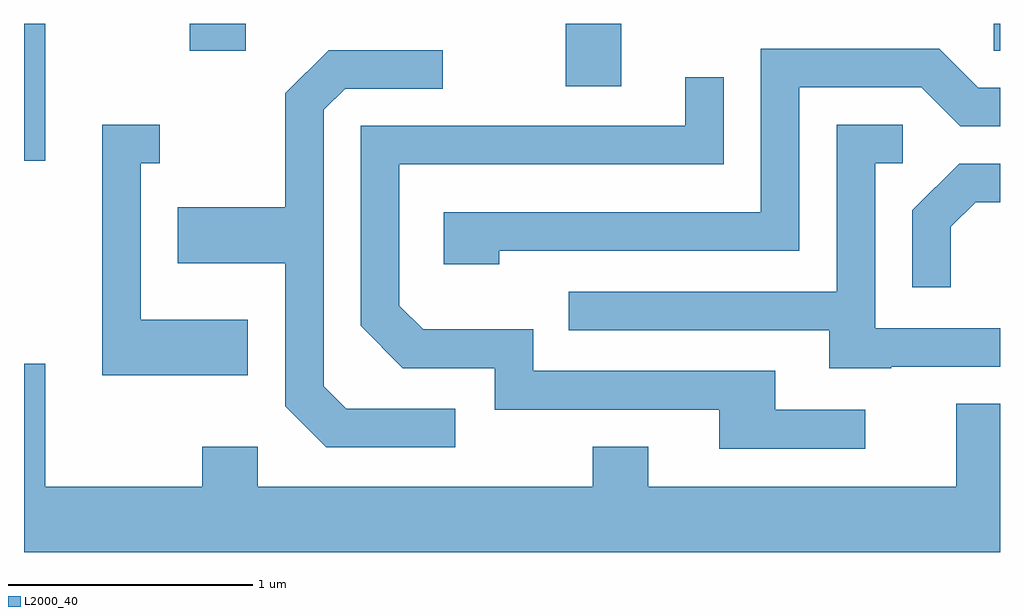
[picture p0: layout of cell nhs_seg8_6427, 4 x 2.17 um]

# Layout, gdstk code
import gdstk
lib = gdstk.Library(unit=1e-6, precision=1e-09)
def R(c, l, rs):  # rectangles x0, y0, x1, y1
    for r in rs: c.add(gdstk.rectangle(r[:2], r[2:], *l))
def P(c, l, *ps):  # polygons
    for p in ps: c.add(gdstk.Polygon(p, *l))
L2000_40 = (2000, 40)

nhs_seg8_6427 = lib.new_cell('nhs_seg8_6427')
R(nhs_seg8_6427, L2000_40, [(377.611,1855.781,377.699,1856.342), (379.831,1856.086,380.059,1856.342), (378.291,1856.231,378.519,1856.342), (381.586,1856.231,381.611,1856.342)])
P(nhs_seg8_6427, L2000_40, [(379.559,1855.411),(380.789,1855.411),(380.789,1856.081),(381.289,1856.081),(381.449,1855.921),(381.611,1855.921),(381.611,1856.079),(381.522,1856.079),(381.362,1856.239),(380.631,1856.239),(380.631,1855.569),(379.331,1855.569),(379.331,1855.356),(379.559,1855.356)],
  [(379.378,1854.764),(378.932,1854.764),(378.839,1854.857),(378.839,1855.989),(378.927,1856.076),(379.328,1856.076),(379.328,1856.234),(378.859,1856.234),(378.681,1856.057),(378.681,1855.589),(378.241,1855.589),(378.241,1855.361),(378.681,1855.361),(378.681,1854.774),(378.849,1854.606),(379.378,1854.606)],
  [(381.058,1854.759),(380.689,1854.759),(380.689,1854.919),(379.699,1854.919),(379.699,1855.089),(379.247,1855.089),(379.149,1855.187),(379.149,1855.766),(380.479,1855.766),(380.479,1856.123),(380.321,1856.123),(380.321,1855.924),(378.991,1855.924),(378.991,1855.104),(379.164,1854.931),(379.541,1854.931),(379.541,1854.761),(380.461,1854.761),(380.461,1854.601),(381.058,1854.601)],
  [(381.165,1854.936),(381.611,1854.936),(381.611,1855.094),(381.099,1855.094),(381.099,1855.771),(381.213,1855.771),(381.213,1855.929),(380.941,1855.929),(380.941,1855.244),(379.843,1855.244),(379.843,1855.086),(380.911,1855.086),(380.911,1854.931),(381.165,1854.931)],
  [(378.529,1855.129),(378.089,1855.129),(378.089,1855.771),(378.168,1855.771),(378.168,1855.929),(377.931,1855.929),(377.931,1854.901),(378.529,1854.901)],
  [(381.409,1855.509),(381.512,1855.611),(381.611,1855.611),(381.611,1855.769),(381.444,1855.769),(381.251,1855.577),(381.251,1855.263),(381.409,1855.263)],
  [(381.611,1854.784),(381.431,1854.784),(381.431,1854.444),(380.169,1854.444),(380.169,1854.609),(379.941,1854.609),(379.941,1854.444),(378.569,1854.444),(378.569,1854.609),(378.341,1854.609),(378.341,1854.444),(377.699,1854.444),(377.699,1854.949),(377.611,1854.949),(377.611,1854.176),(381.611,1854.176)])

lib.write_gds('nhs_seg8_6427.gds')
